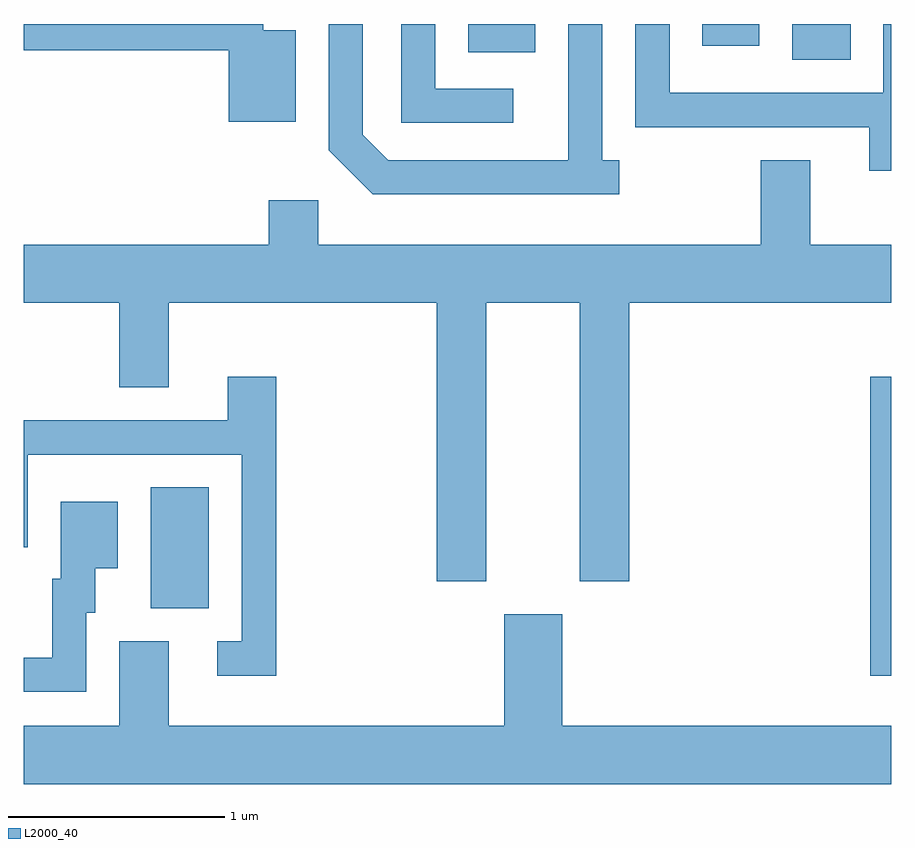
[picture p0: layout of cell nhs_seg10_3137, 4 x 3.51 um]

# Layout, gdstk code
import gdstk
lib = gdstk.Library(unit=1e-6, precision=1e-09)
def R(c, l, rs):  # rectangles x0, y0, x1, y1
    for r in rs: c.add(gdstk.rectangle(r[:2], r[2:], *l))
def P(c, l, *ps):  # polygons
    for p in ps: c.add(gdstk.Polygon(p, *l))
L2000_40 = (2000, 40)

nhs_seg10_3137 = lib.new_cell('nhs_seg10_3137')
R(nhs_seg10_3137, L2000_40, [(281.516,2125.516,281.611,2126.894), (278.196,2125.826,278.464,2126.384), (281.156,2128.356,281.424,2128.522), (279.661,2128.391,279.969,2128.522), (280.741,2128.421,281.004,2128.522)])
P(nhs_seg10_3137, L2000_40, [(281.611,2128.522),(281.576,2128.522),(281.576,2128.204),(280.589,2128.204),(280.589,2128.522),(280.431,2128.522),(280.431,2128.046),(281.511,2128.046),(281.511,2127.846),(281.611,2127.846)],
  [(280.358,2127.894),(280.279,2127.894),(280.279,2128.522),(280.121,2128.522),(280.121,2127.894),(279.292,2127.894),(279.174,2128.012),(279.174,2128.522),(279.016,2128.522),(279.016,2127.939),(279.219,2127.736),(280.358,2127.736)],
  [(279.868,2128.224),(279.509,2128.224),(279.509,2128.522),(279.351,2128.522),(279.351,2128.066),(279.868,2128.066)],
  [(278.864,2128.494),(278.714,2128.494),(278.714,2128.522),(277.611,2128.522),(277.611,2128.401),(278.556,2128.401),(278.556,2128.071),(278.864,2128.071)],
  [(279.744,2127.236),(280.176,2127.236),(280.176,2125.951),(280.404,2125.951),(280.404,2127.236),(281.611,2127.236),(281.611,2127.504),(281.239,2127.504),(281.239,2127.894),(281.011,2127.894),(281.011,2127.504),(278.969,2127.504),(278.969,2127.709),(278.741,2127.709),(278.741,2127.504),(277.611,2127.504),(277.611,2127.236),(278.051,2127.236),(278.051,2126.846),(278.279,2126.846),(278.279,2127.236),(279.516,2127.236),(279.516,2125.951),(279.744,2125.951)],
  [(278.774,2126.894),(278.551,2126.894),(278.551,2126.694),(277.611,2126.694),(277.611,2126.108),(277.629,2126.108),(277.629,2126.536),(278.616,2126.536),(278.616,2125.674),(278.503,2125.674),(278.503,2125.516),(278.774,2125.516)],
  [(277.899,2125.806),(277.939,2125.806),(277.939,2126.011),(278.044,2126.011),(278.044,2126.319),(277.781,2126.319),(277.781,2125.964),(277.741,2125.964),(277.741,2125.599),(277.611,2125.599),(277.611,2125.441),(277.899,2125.441)],
  [(281.611,2125.284),(280.094,2125.284),(280.094,2125.799),(279.826,2125.799),(279.826,2125.284),(278.279,2125.284),(278.279,2125.674),(278.051,2125.674),(278.051,2125.284),(277.611,2125.284),(277.611,2125.016),(281.611,2125.016)])

lib.write_gds('nhs_seg10_3137.gds')
